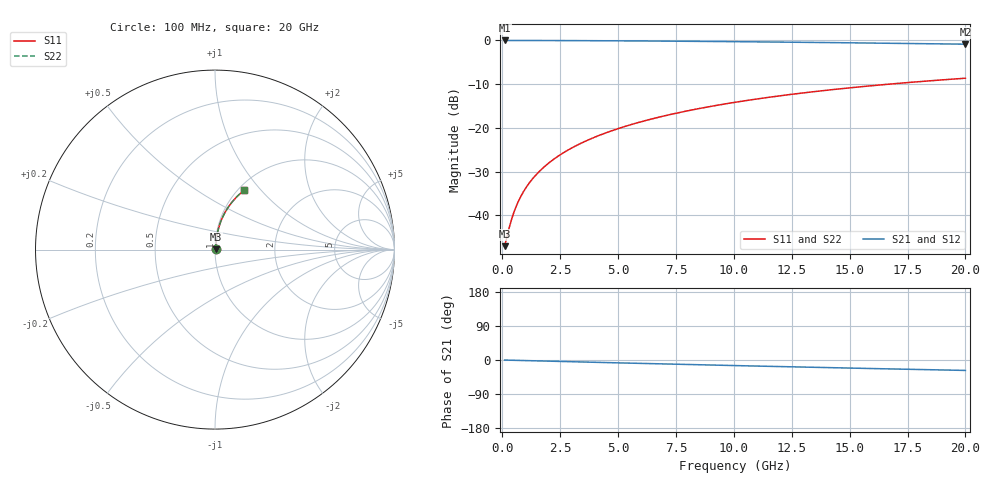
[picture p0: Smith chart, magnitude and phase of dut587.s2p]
! Touchstone file exported from HFSS 2024.1.0
!  File:  C:/UserFiles/LocalFiles/RDL_TSV_Batchsim/temp_RDL_bottom_587_1779690927.aedt
!  Generated:  02:38:00 PM May 25, 2026
!  Design:  RDL_bottom
!  Project:  temp_RDL_bottom_587_1779690927
!  Setup:  Setup1
!  Solution:  Sweep
! Variables:
!  dtsv = 10.80580581um
!  hbump = 3um
!  htsv = 50.57um
!  ldown = 276.4um
!  lrdl = 100um
!  p = 40
!  p1 = 56.61um
!  rhole = 1um
!  t = 450um
!  tdown = 2.33um
!  trdl = 3.915915916um
!  wdown = 11.14um
!  wrdl = 20um
# GHz S MA R 50.000000
! Terminal data exported
! Port[1] = RDL1_T1
! Port[2] = RDL1_T2
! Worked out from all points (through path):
!   200 points, 100 MHz to 20 GHz, reference 50 ohm
!   highest |S21| = -0.03 dB at 100 MHz (marker M1); lowest = -0.9 dB at 20 GHz (marker M2)
!   group delay of S21, straight-line fit = 3.82 ps
!   lowest |S11| = -47.0 dB at 100 MHz (marker M3), VSWR 1.01, Z = 50.4 + j0.202 ohm
!   |S11| at or under -10 dB: start of sweep to 16.75 GHz
!   |S22| runs from -47.0 to -8.7 dB; largest |S21 - S12| = 3.4e-15
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0.1  0.004442 26.8  0.996 -0.2  0.996 -0.2  0.004442 26.8
! Gamma 0 0 0 0
! Port Impedance 50 0 50 0
0.3  0.007238 56.0  0.996 -0.5  0.996 -0.5  0.007238 56.0
0.4  0.008983 62.8  0.9959 -0.6  0.9959 -0.6  0.008983 62.8
0.5  0.01081 67.2  0.9958 -0.8  0.9958 -0.8  0.01081 67.2
0.6  0.01267 70.3  0.9957 -0.9  0.9957 -0.9  0.01267 70.3
0.7  0.01456 72.5  0.9956 -1.1  0.9956 -1.1  0.01456 72.5
0.9  0.01836 75.6  0.9954 -1.4  0.9954 -1.4  0.01836 75.6
1.2  0.02409 78.2  0.9951 -1.9  0.9951 -1.9  0.02409 78.2
1.4  0.02793 79.3  0.9948 -2.2  0.9948 -2.2  0.02793 79.3
1.7  0.03369 80.5  0.9944 -2.6  0.9944 -2.6  0.03369 80.5
2.2  0.04334 81.5  0.9937 -3.4  0.9937 -3.4  0.04334 81.5
2.8  0.05497 82.0  0.9926 -4.3  0.9926 -4.3  0.05497 82.0
3.5  0.06858 82.1  0.991 -5.3  0.991 -5.3  0.06858 82.1
4.2  0.08223 81.9  0.9891 -6.4  0.9891 -6.4  0.08223 81.9
5  0.09786 81.4  0.9867 -7.5  0.9867 -7.5  0.09786 81.4
5.9  0.1155 80.7  0.9836 -8.9  0.9836 -8.9  0.1155 80.7
6.8  0.133 79.8  0.9801 -10.2  0.9801 -10.2  0.133 79.8
8.3  0.1622 78.2  0.9736 -12.3  0.9736 -12.3  0.1622 78.2
10.1  0.1967 76.1  0.9648 -14.8  0.9648 -14.8  0.1967 76.1
13.4  0.2579 71.9  0.9463 -19.2  0.9463 -19.2  0.2579 71.9
16.7  0.3154 67.8  0.9255 -23.5  0.9255 -23.5  0.3154 67.8
20  0.3688 63.8  0.9029 -27.5  0.9029 -27.5  0.3688 63.8
